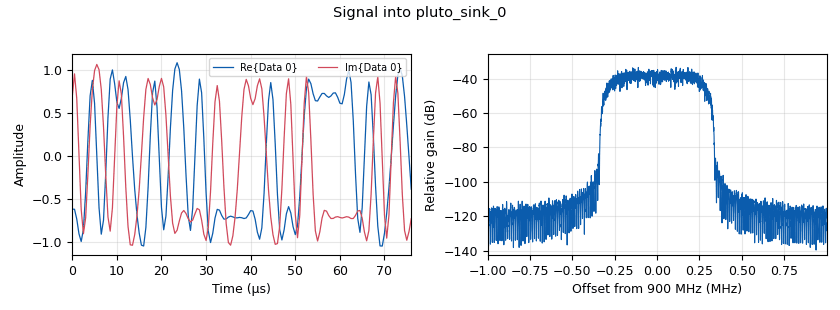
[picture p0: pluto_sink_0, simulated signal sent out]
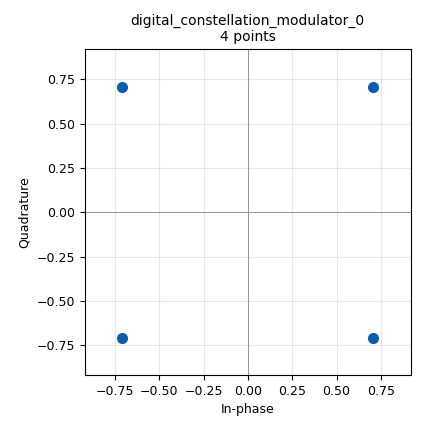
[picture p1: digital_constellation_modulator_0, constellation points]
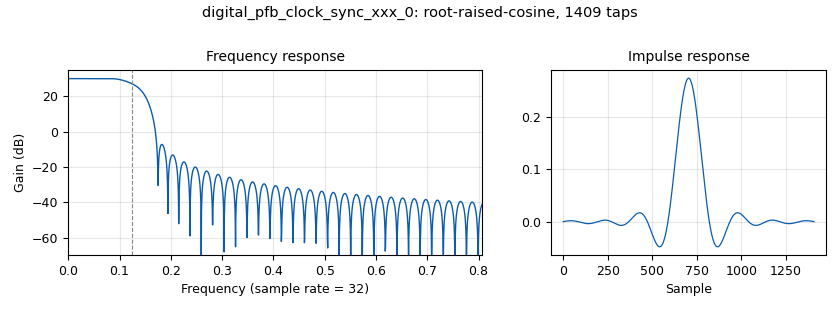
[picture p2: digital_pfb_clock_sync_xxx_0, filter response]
<?xml version='1.0' encoding='utf-8'?>
<?grc format='1' created='3.7.11'?>
<flow_graph>
<block>
<key>options</key>
<param><key>id</key><value>qpsk_plutosdr</value></param>
<param><key>category</key><value>Custom</value></param>
<param><key>generate_options</key><value>qt_gui</value></param>
<param><key>title</key><value>QPSK (Pluto SDR)</value></param>
</block>
<block>
<key>variable</key>
<param><key>id</key><value>arity</value></param>
<param><key>value</key><value>4</value></param>
</block>
<block>
<key>variable_qtgui_range</key>
<param><key>id</key><value>eq_gain</value></param>
<param><key>value</key><value>0.01</value></param>
<param><key>gui_hint</key><value>controls_rx@2: 0,1,1,1</value></param>
<param><key>label</key><value>Equalizer: rate</value></param>
<param><key>orient</key><value>Qt.Horizontal</value></param>
<param><key>start</key><value>0.0</value></param>
<param><key>step</key><value>0.001</value></param>
<param><key>stop</key><value>0.1</value></param>
<param><key>widget</key><value>slider</value></param>
</block>
<block>
<key>variable</key>
<param><key>id</key><value>excess_bw</value></param>
<param><key>value</key><value>0.35</value></param>
</block>
<block>
<key>variable</key>
<param><key>id</key><value>nfilts</value></param>
<param><key>value</key><value>32</value></param>
</block>
<block>
<key>variable_qtgui_range</key>
<param><key>id</key><value>phase_bw</value></param>
<param><key>value</key><value>6.28/100.0</value></param>
<param><key>gui_hint</key><value>controls_rx@3: 0,2,1,1</value></param>
<param><key>label</key><value>Phase: Bandwidth</value></param>
<param><key>orient</key><value>Qt.Horizontal</value></param>
<param><key>start</key><value>0.0</value></param>
<param><key>step</key><value>0.01</value></param>
<param><key>stop</key><value>1.0</value></param>
<param><key>widget</key><value>slider</value></param>
</block>
<block>
<key>variable_constellation_rect</key>
<param><key>id</key><value>qpsk</value></param>
<param><key>const_points</key><value>[0.707+0.707j, -0.707+0.707j, -0.707-0.707j, 0.707-0.707j]</value></param>
<param><key>imag_sect</key><value>2</value></param>
<param><key>real_sect</key><value>2</value></param>
<param><key>rot_sym</key><value>4</value></param>
<param><key>sym_map</key><value>[0, 1, 2, 3]</value></param>
<param><key>w_imag_sect</key><value>1</value></param>
<param><key>w_real_sect</key><value>1</value></param>
</block>
<block>
<key>variable</key>
<param><key>id</key><value>rrc_taps</value></param>
<param><key>value</key><value>firdes.root_raised_cosine(nfilts, nfilts, 1.0/float(sps), 0.35, 11*sps*nfilts)</value></param>
</block>
<block>
<key>variable_qtgui_range</key>
<param><key>id</key><value>rx_freq</value></param>
<param><key>value</key><value>900</value></param>
<param><key>gui_hint</key><value>controls_rx@0: 0,0,1,1</value></param>
<param><key>label</key><value>Frequency (MHz)</value></param>
<param><key>orient</key><value>Qt.Horizontal</value></param>
<param><key>start</key><value>300</value></param>
<param><key>step</key><value>1</value></param>
<param><key>stop</key><value>3000</value></param>
<param><key>widget</key><value>counter</value></param>
</block>
<block>
<key>variable_qtgui_range</key>
<param><key>id</key><value>rx_manual_gain</value></param>
<param><key>value</key><value>34</value></param>
<param><key>gui_hint</key><value>controls_rx@0: 1,0,1,1</value></param>
<param><key>label</key><value>Manual gain (dB)</value></param>
<param><key>orient</key><value>Qt.Horizontal</value></param>
<param><key>start</key><value>0</value></param>
<param><key>step</key><value>1</value></param>
<param><key>stop</key><value>50</value></param>
<param><key>widget</key><value>counter</value></param>
</block>
<block>
<key>variable</key>
<param><key>id</key><value>samp_rate</value></param>
<param><key>value</key><value>2e6</value></param>
</block>
<block>
<key>variable</key>
<param><key>id</key><value>sps</value></param>
<param><key>value</key><value>4</value></param>
</block>
<block>
<key>variable_qtgui_range</key>
<param><key>id</key><value>timing_loop_bw</value></param>
<param><key>value</key><value>6.28/100.0</value></param>
<param><key>gui_hint</key><value>controls_rx@1: 0,0,1,1</value></param>
<param><key>label</key><value>Time: BW</value></param>
<param><key>orient</key><value>Qt.Horizontal</value></param>
<param><key>start</key><value>0.0</value></param>
<param><key>step</key><value>0.01</value></param>
<param><key>stop</key><value>0.2</value></param>
<param><key>widget</key><value>slider</value></param>
</block>
<block>
<key>variable_qtgui_range</key>
<param><key>id</key><value>tx_attenuation</value></param>
<param><key>value</key><value>30</value></param>
<param><key>gui_hint</key><value>controls_tx@0: 1,0,1,1</value></param>
<param><key>label</key><value>Attenuation (dB)</value></param>
<param><key>orient</key><value>Qt.Horizontal</value></param>
<param><key>start</key><value>0</value></param>
<param><key>step</key><value>1</value></param>
<param><key>stop</key><value>50</value></param>
<param><key>widget</key><value>counter</value></param>
</block>
<block>
<key>variable_qtgui_range</key>
<param><key>id</key><value>tx_freq</value></param>
<param><key>value</key><value>900</value></param>
<param><key>gui_hint</key><value>controls_tx@0: 0,0,1,1</value></param>
<param><key>label</key><value>Frquency (MHz)</value></param>
<param><key>orient</key><value>Qt.Horizontal</value></param>
<param><key>start</key><value>300</value></param>
<param><key>step</key><value>1</value></param>
<param><key>stop</key><value>3e3</value></param>
<param><key>widget</key><value>counter</value></param>
</block>
<block>
<key>analog_random_source_x</key>
<param><key>id</key><value>analog_random_source_x_0</value></param>
<param><key>max</key><value>256</value></param>
<param><key>min</key><value>0</value></param>
<param><key>num_samps</key><value>10000</value></param>
<param><key>type</key><value>byte</value></param>
<param><key>repeat</key><value>True</value></param>
</block>
<block>
<key>qtgui_tab_widget</key>
<param><key>id</key><value>controls_rx</value></param>
<param><key>gui_hint</key><value>0,1,1,1</value></param>
<param><key>label0</key><value>RF</value></param>
<param><key>label1</key><value>Time sync.</value></param>
<param><key>label2</key><value>Equalizer</value></param>
<param><key>label3</key><value>Freq. sync.</value></param>
<param><key>num_tabs</key><value>4</value></param>
</block>
<block>
<key>qtgui_tab_widget</key>
<param><key>id</key><value>controls_tx</value></param>
<param><key>gui_hint</key><value>0,0,1,1</value></param>
<param><key>label0</key><value>RF</value></param>
<param><key>num_tabs</key><value>1</value></param>
</block>
<block>
<key>digital_cma_equalizer_cc</key>
<param><key>id</key><value>digital_cma_equalizer_cc_0</value></param>
<param><key>mu</key><value>eq_gain</value></param>
<param><key>modulus</key><value>1</value></param>
<param><key>num_taps</key><value>15</value></param>
<param><key>sps</key><value>2</value></param>
</block>
<block>
<key>digital_constellation_modulator</key>
<param><key>id</key><value>digital_constellation_modulator_0</value></param>
<param><key>constellation</key><value>qpsk</value></param>
<param><key>differential</key><value>True</value></param>
<param><key>excess_bw</key><value>excess_bw</value></param>
<param><key>samples_per_symbol</key><value>sps</value></param>
</block>
<block>
<key>digital_costas_loop_cc</key>
<param><key>id</key><value>digital_costas_loop_cc_0</value></param>
<param><key>w</key><value>phase_bw</value></param>
<param><key>order</key><value>arity</value></param>
</block>
<block>
<key>digital_pfb_clock_sync_xxx</key>
<param><key>id</key><value>digital_pfb_clock_sync_xxx_0</value></param>
<param><key>filter_size</key><value>nfilts</value></param>
<param><key>init_phase</key><value>nfilts/2</value></param>
<param><key>loop_bw</key><value>timing_loop_bw</value></param>
<param><key>max_dev</key><value>1.5</value></param>
<param><key>osps</key><value>2</value></param>
<param><key>sps</key><value>sps</value></param>
<param><key>taps</key><value>rrc_taps</value></param>
<param><key>type</key><value>ccf</value></param>
</block>
<block>
<key>fractional_resampler_xx</key>
<param><key>id</key><value>fractional_resampler_xx_0</value></param>
<param><key>_enabled</key><value>0</value></param>
<param><key>phase_shift</key><value>0</value></param>
<param><key>resamp_ratio</key><value>2</value></param>
<param><key>type</key><value>complex</value></param>
</block>
<block>
<key>pluto_sink</key>
<param><key>id</key><value>pluto_sink_0</value></param>
<param><key>attenuation</key><value>tx_attenuation</value></param>
<param><key>buffer_size</key><value>0x8000</value></param>
<param><key>cyclic</key><value>False</value></param>
<param><key>auto_filter</key><value>True</value></param>
<param><key>filter</key><value></value></param>
<param><key>uri</key><value>ip:pluto.local</value></param>
<param><key>frequency</key><value>tx_freq * 1e6</value></param>
<param><key>bandwidth</key><value>20000000</value></param>
<param><key>samplerate</key><value>samp_rate</value></param>
</block>
<block>
<key>pluto_source</key>
<param><key>id</key><value>pluto_source_0</value></param>
<param><key>bbdc</key><value>True</value></param>
<param><key>buffer_size</key><value>0x8000</value></param>
<param><key>uri</key><value>ip:pluto.local</value></param>
<param><key>auto_filter</key><value>True</value></param>
<param><key>filter</key><value></value></param>
<param><key>gain</key><value>"manual"</value></param>
<param><key>frequency</key><value>rx_freq * 1e6</value></param>
<param><key>manual_gain</key><value>rx_manual_gain</value></param>
<param><key>quadrature</key><value>True</value></param>
<param><key>rfdc</key><value>True</value></param>
<param><key>bandwidth</key><value>20000000</value></param>
<param><key>samplerate</key><value>samp_rate</value></param>
</block>
<block>
<key>qtgui_const_sink_x</key>
<param><key>id</key><value>qtgui_const_sink_x_0</value></param>
<param><key>_enabled</key><value>0</value></param>
<param><key>gui_hint</key><value>1,1,1,1</value></param>
<param><key>grid</key><value>True</value></param>
<param><key>alpha1</key><value>0.6</value></param>
<param><key>label1</key><value>Not equalized</value></param>
<param><key>label2</key><value>Equalized</value></param>
<param><key>label3</key><value>Locked</value></param>
<param><key>name</key><value></value></param>
<param><key>nconnections</key><value>3</value></param>
<param><key>size</key><value>1024</value></param>
<param><key>type</key><value>complex</value></param>
<param><key>xmax</key><value>1.5</value></param>
<param><key>xmin</key><value>-1.5</value></param>
<param><key>ymax</key><value>1.5</value></param>
<param><key>ymin</key><value>-1.5</value></param>
</block>
<block>
<key>qtgui_const_sink_x</key>
<param><key>id</key><value>qtgui_const_sink_x_0_0</value></param>
<param><key>gui_hint</key><value>1,1,1,1</value></param>
<param><key>grid</key><value>True</value></param>
<param><key>alpha1</key><value>0.6</value></param>
<param><key>label1</key><value>RX signal</value></param>
<param><key>label2</key><value>Before sync.</value></param>
<param><key>name</key><value></value></param>
<param><key>nconnections</key><value>2</value></param>
<param><key>size</key><value>1024</value></param>
<param><key>type</key><value>complex</value></param>
<param><key>xmax</key><value>1.5</value></param>
<param><key>xmin</key><value>-1.5</value></param>
<param><key>ymax</key><value>1.5</value></param>
<param><key>ymin</key><value>-1.5</value></param>
</block>
<block>
<key>qtgui_freq_sink_x</key>
<param><key>id</key><value>qtgui_freq_sink_x_0</value></param>
<param><key>average</key><value>0.2</value></param>
<param><key>bw</key><value>samp_rate</value></param>
<param><key>fc</key><value>rx_freq * 1e6</value></param>
<param><key>fftsize</key><value>1024</value></param>
<param><key>gui_hint</key><value>1,0,1,1</value></param>
<param><key>grid</key><value>True</value></param>
<param><key>label1</key><value>RX signal</value></param>
<param><key>showports</key><value>True</value></param>
<param><key>type</key><value>complex</value></param>
<param><key>wintype</key><value>firdes.WIN_BLACKMAN_hARRIS</value></param>
</block>
<block>
<key>qtgui_time_sink_x</key>
<param><key>id</key><value>qtgui_time_sink_x_0</value></param>
<param><key>gui_hint</key><value>2,0,1,2</value></param>
<param><key>grid</key><value>True</value></param>
<param><key>color1</key><value>"blue"</value></param>
<param><key>label1</key><value>Real</value></param>
<param><key>color2</key><value>"red"</value></param>
<param><key>label2</key><value>Imaginary</value></param>
<param><key>name</key><value>Data to be demodulated</value></param>
<param><key>size</key><value>128</value></param>
<param><key>srate</key><value>samp_rate</value></param>
<param><key>type</key><value>complex</value></param>
</block>
<connection><source_block_id>analog_random_source_x_0</source_block_id><sink_block_id>digital_constellation_modulator_0</sink_block_id><source_key>0</source_key><sink_key>0</sink_key></connection>
<connection><source_block_id>digital_cma_equalizer_cc_0</source_block_id><sink_block_id>digital_costas_loop_cc_0</sink_block_id><source_key>0</source_key><sink_key>0</sink_key></connection>
<connection><source_block_id>digital_cma_equalizer_cc_0</source_block_id><sink_block_id>qtgui_const_sink_x_0</sink_block_id><source_key>0</source_key><sink_key>1</sink_key></connection>
<connection><source_block_id>digital_cma_equalizer_cc_0</source_block_id><sink_block_id>qtgui_const_sink_x_0_0</sink_block_id><source_key>0</source_key><sink_key>1</sink_key></connection>
<connection><source_block_id>digital_constellation_modulator_0</source_block_id><sink_block_id>pluto_sink_0</sink_block_id><source_key>0</source_key><sink_key>0</sink_key></connection>
<connection><source_block_id>digital_costas_loop_cc_0</source_block_id><sink_block_id>qtgui_const_sink_x_0</sink_block_id><source_key>0</source_key><sink_key>2</sink_key></connection>
<connection><source_block_id>digital_costas_loop_cc_0</source_block_id><sink_block_id>qtgui_const_sink_x_0_0</sink_block_id><source_key>0</source_key><sink_key>0</sink_key></connection>
<connection><source_block_id>digital_costas_loop_cc_0</source_block_id><sink_block_id>qtgui_time_sink_x_0</sink_block_id><source_key>0</source_key><sink_key>0</sink_key></connection>
<connection><source_block_id>digital_pfb_clock_sync_xxx_0</source_block_id><sink_block_id>digital_cma_equalizer_cc_0</sink_block_id><source_key>0</source_key><sink_key>0</sink_key></connection>
<connection><source_block_id>digital_pfb_clock_sync_xxx_0</source_block_id><sink_block_id>fractional_resampler_xx_0</sink_block_id><source_key>0</source_key><sink_key>0</sink_key></connection>
<connection><source_block_id>fractional_resampler_xx_0</source_block_id><sink_block_id>qtgui_const_sink_x_0</sink_block_id><source_key>0</source_key><sink_key>0</sink_key></connection>
<connection><source_block_id>pluto_source_0</source_block_id><sink_block_id>digital_pfb_clock_sync_xxx_0</sink_block_id><source_key>0</source_key><sink_key>0</sink_key></connection>
<connection><source_block_id>pluto_source_0</source_block_id><sink_block_id>qtgui_freq_sink_x_0</sink_block_id><source_key>0</source_key><sink_key>0</sink_key></connection>
</flow_graph>
